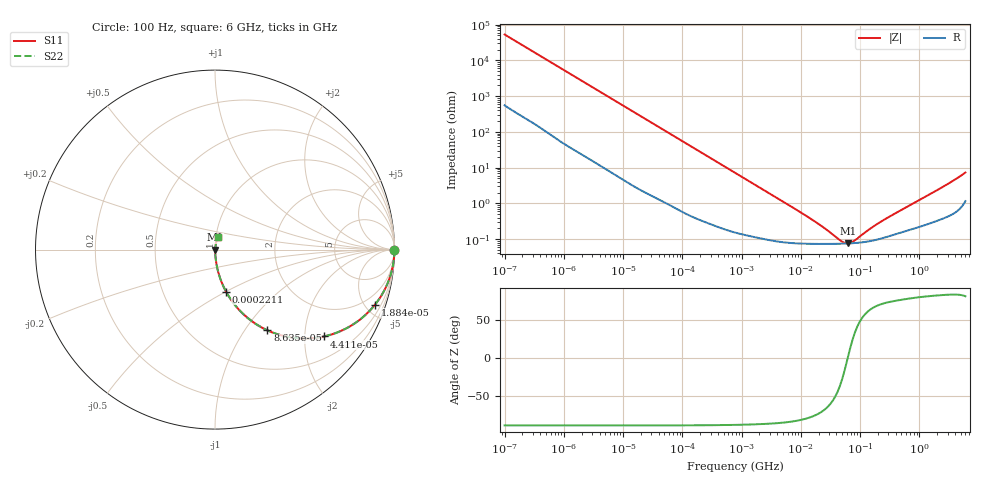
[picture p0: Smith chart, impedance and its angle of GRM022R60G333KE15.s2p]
!Murata Part Number: GRM022R60G333KE15
!These Parameters are Measured in Series Mode Connection
!Data Generated on Mar 30, 2021
!  o--ll--o
!Port1  Port2
!  o------o
!Operation Temp=25[degC], DC Bias Voltage=0[V]
!Freq. Start=100[Hz] Stop=6[GHz] 401[Steps]
# Hz S RI R 50
!Freq.(Hz) S11(Real) S11(Imag) S21(Real) S21(Imag) S12(Real) S12(Imag) S22(Real) S22(Imag)
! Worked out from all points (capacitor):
!   401 points, 100 Hz to 6 GHz, reference 50 ohm
!   read as one part in series: C = 29.9 nF near 109 Hz
!   lowest |Z| = 76 mohm at 62.33 MHz (marker M1)
!   series resonance near 62.12 MHz, so ESL is about 220 pH
!   S11 on the Smith chart (normalised r, x): 100 Hz: open; 18.84 kHz: 1.05, -5.81; 44.11 kHz: 1.02, -2.49; 86.35 kHz: 1.01, -1.28; 221.1 kHz: 1.01, -0.50; 6 GHz: 1.02, +0.14
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100  1 -0.00188  2.32e-05 0.00188  2.32e-05 0.00188  1 -0.00188
2008  0.9983 -0.0371  0.0017 0.0371  0.0017 0.0371  0.9983 -0.0371
7036  0.9825 -0.1269  0.0175 0.1269  0.0175 0.1269  0.9825 -0.1269
18841  0.8919 -0.3063  0.1081 0.3063  0.1081 0.3063  0.8919 -0.3063
26957  0.803 -0.3933  0.197 0.3933  0.197 0.3933  0.803 -0.3933
40335  0.6482 -0.4728  0.3518 0.4728  0.3518 0.4728  0.6482 -0.4728
44113  0.607 -0.4836  0.393 0.4836  0.393 0.4836  0.607 -0.4836
60352  0.4546 -0.493  0.5454 0.493  0.5454 0.493  0.4546 -0.493
86348  0.2918 -0.4495  0.7082 0.4495  0.7082 0.4495  0.2918 -0.4495
135116  0.1462 -0.3478  0.8538 0.3478  0.8538 0.3478  0.1462 -0.3478
221108  0.0618 -0.2345  0.9382 0.2345  0.9382 0.2345  0.0618 -0.2345
395726  0.0215 -0.1373  0.9785 0.1373  0.9785 0.1373  0.0215 -0.1373
774597  0.00669 -0.0716  0.9933 0.0716  0.9933 0.0716  0.00669 -0.0716
2481164  0.00151 -0.0227  0.9985 0.0227  0.9985 0.0227  0.00151 -0.0227
1.555665e7  0.000753 -0.00343  0.9992 0.00343  0.9992 0.00343  0.000753 -0.00343
4.764863e7  0.000748 -0.000491  0.9993 0.000491  0.9993 0.000491  0.000748 -0.000491
6.233367e7  0.000759 6.3e-06  0.9992 -6.3e-06  0.9992 -6.3e-06  0.000759 6.3e-06
7.797396e7  0.000776 0.000417  0.9992 -0.000417  0.9992 -0.000417  0.000776 0.000417
1.596157e8  0.000909 0.00194  0.9991 -0.00194  0.9991 -0.00194  0.000909 0.00194
3.124326e8  0.00124 0.00408  0.9988 -0.00408  0.9988 -0.00408  0.00124 0.00408
2.142435e9  0.00401 0.0247  0.996 -0.0247  0.996 -0.0247  0.00401 0.0247
6e9  0.0165 0.0704  0.9835 -0.0704  0.9835 -0.0704  0.0165 0.0704
